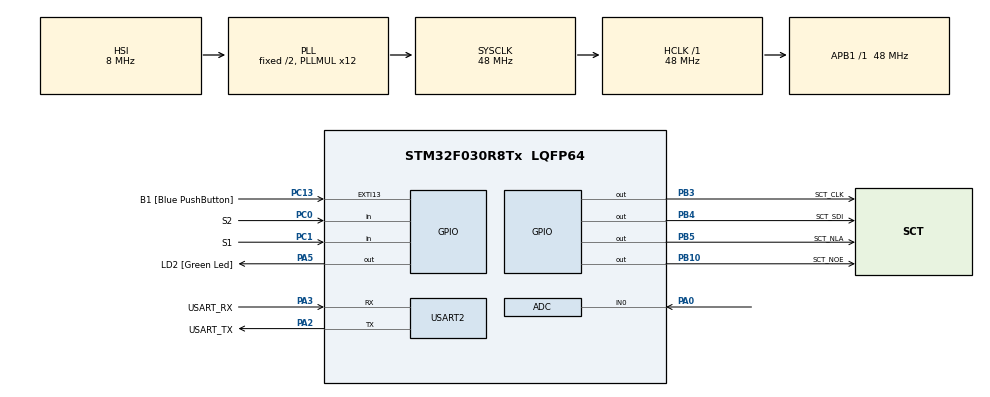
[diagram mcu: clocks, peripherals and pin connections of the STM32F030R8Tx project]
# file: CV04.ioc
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ADC.ContinuousConvMode=ENABLE
ADC.Overrun=ADC_OVR_DATA_OVERWRITTEN
ADC.SamplingTime=ADC_SAMPLETIME_239CYCLES_5
Mcu.Family=STM32F0
Mcu.Name=STM32F030R8Tx
Mcu.Package=LQFP64
NVIC.ADC1_IRQn=true\:0\:0\:false\:false\:true\:true\:true
PA0.Mode=IN0
PA0.Signal=ADC_IN0
PA13.GPIO_Label=TMS
PA13.Mode=Serial_Wire
PA13.Signal=SYS_SWDIO
PA14.GPIO_Label=TCK
PA14.Mode=Serial_Wire
PA14.Signal=SYS_SWCLK
PA2.GPIO_Label=USART_TX
PA2.GPIO_Mode=GPIO_MODE_AF_PP
PA2.GPIO_PuPd=GPIO_NOPULL
PA2.GPIO_Speed=GPIO_SPEED_FREQ_LOW
PA2.Mode=Asynchronous
PA2.Signal=USART2_TX
PA3.GPIO_Label=USART_RX
PA3.GPIO_Mode=GPIO_MODE_AF_PP
PA3.GPIO_PuPd=GPIO_NOPULL
PA3.GPIO_Speed=GPIO_SPEED_FREQ_LOW
PA3.Mode=Asynchronous
PA3.Signal=USART2_RX
PA5.GPIO_Label=LD2 [Green Led]
PA5.GPIO_Mode=GPIO_MODE_OUTPUT_PP
PA5.GPIO_PuPd=GPIO_NOPULL
PA5.GPIO_Speed=GPIO_SPEED_FREQ_LOW
PA5.Signal=GPIO_Output
PB10.GPIO_Label=SCT_NOE
PB10.Signal=GPIO_Output
PB3.GPIO_Label=SCT_CLK
PB3.Signal=GPIO_Output
PB4.GPIO_Label=SCT_SDI
PB4.Signal=GPIO_Output
PB5.GPIO_Label=SCT_NLA
PB5.Signal=GPIO_Output
PC0.GPIO_Label=S2
PC0.GPIO_PuPd=GPIO_PULLUP
PC0.Signal=GPIO_Input
PC1.GPIO_Label=S1
PC1.GPIO_PuPd=GPIO_PULLUP
PC1.Signal=GPIO_Input
PC13.GPIO_Label=B1 [Blue PushButton]
PC13.GPIO_ModeDefaultEXTI=GPIO_MODE_IT_FALLING
PC13.Signal=GPXTI13
PC14-OSC32_IN.Mode=LSE-External-Oscillator
PC14-OSC32_IN.Signal=RCC_OSC32_IN
PC15-OSC32_OUT.Mode=LSE-External-Oscillator
PC15-OSC32_OUT.Signal=RCC_OSC32_OUT
PF0-OSC_IN.Mode=HSE-External-Clock-Source
PF0-OSC_IN.Signal=RCC_OSC_IN
PF1-OSC_OUT.Signal=RCC_OSC_OUT
ProjectManager.HeapSize=0x200
ProjectManager.StackSize=0x400
ProjectManager.TargetToolchain=STM32CubeIDE
RCC.AHBFreq_Value=48000000
RCC.APB1Freq_Value=48000000
RCC.APB1TimFreq_Value=48000000
RCC.HCLKFreq_Value=48000000
RCC.PLLMUL=RCC_PLL_MUL12
RCC.SYSCLKFreq_VALUE=48000000
RCC.SYSCLKSource=RCC_SYSCLKSOURCE_PLLCLK
USART2.VirtualMode-Asynchronous=VM_ASYNC
VP_ADC_TempSens_Input.Mode=IN-TempSens
VP_ADC_Vref_Input.Mode=IN-Vrefint
board=NUCLEO-F030R8

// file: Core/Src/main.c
/* USER CODE BEGIN Header */
/**
  ******************************************************************************
  * @file           : main.c
  * @brief          : Main program body
  ******************************************************************************
  * @attention
  *
  * <h2><center>&copy; Copyright (c) 2020 STMicroelectronics.
  * All rights reserved.</center></h2>
  *
  * This software component is licensed by ST under BSD 3-Clause license,
  * the "License"; You may not use this file except in compliance with the
  * License. You may obtain a copy of the License at:
  *                        opensource.org/licenses/BSD-3-Clause
  *
  ******************************************************************************
  */
/* USER CODE END Header */

#include "main.h"
#include "sct.h"

/* USER CODE BEGIN PD */

#define TEMP110_CAL_ADDR ((uint16_t*) ((uint32_t) 0x1FFFF7C2))
#define TEMP30_CAL_ADDR ((uint16_t*) ((uint32_t) 0x1FFFF7B8))

#define VREFINT_CAL_ADDR ((uint16_t*) ((uint32_t) 0x1FFFF7BA))

#define  ADC_Q 16
/* USER CODE END PD */

ADC_HandleTypeDef hadc;

UART_HandleTypeDef huart2;

/* USER CODE BEGIN PV */
static volatile uint32_t raw_pot;
static volatile uint32_t raw_temp;
static volatile uint32_t raw_volt;

/* USER CODE END PV */

void SystemClock_Config(void);
static void MX_GPIO_Init(void);
static void MX_USART2_UART_Init(void);
static void MX_ADC_Init(void);

int main(void)
{

  /* MCU Configuration--------------------------------------------------------*/

  /* Reset of all peripherals, Initializes the Flash interface and the Systick. */
  HAL_Init();

  /* Configure the system clock */
  SystemClock_Config();

  /* Initialize all configured peripherals */
  MX_GPIO_Init();
  MX_USART2_UART_Init();
  MX_ADC_Init();
  /* USER CODE BEGIN 2 */

  HAL_ADCEx_Calibration_Start(&hadc);
  sct_init();
  HAL_ADC_Start_IT(&hadc);

  /* USER CODE END 2 */

  /* Infinite loop */
  while (1)
  {

	  static enum { SHOW_POT, SHOW_VOLT, SHOW_TEMP } state = SHOW_POT;
	  uint32_t tick;

	 if (HAL_GPIO_ReadPin(S1_GPIO_Port, S1_Pin)==0){
		state = SHOW_VOLT;
		tick = HAL_GetTick();

	 }
	 if (HAL_GPIO_ReadPin(S2_GPIO_Port, S2_Pin)==0){
		 state = SHOW_TEMP;
			tick = HAL_GetTick();
	 }
     if (state == SHOW_POT){
	     sct_value((raw_pot*500)/4096, (raw_pot*9)/4096);

	 }
	 else if (state == SHOW_VOLT){
		 uint32_t voltage = 330 * (*VREFINT_CAL_ADDR) / raw_volt;
		 sct_value(voltage, 0);

		 if(HAL_GetTick() >= tick+1000){
			 state = SHOW_POT;
		 }

	 }
	 else if (state == SHOW_TEMP){
		 int32_t temperature = (raw_temp - (int32_t)(*TEMP30_CAL_ADDR));
		 temperature = temperature * (int32_t)(110 - 30);
		 temperature = temperature / (int32_t)(*TEMP110_CAL_ADDR - *TEMP30_CAL_ADDR);
		 temperature = temperature + 30;

		 sct_value(temperature, 0);

		 if(HAL_GetTick()>=tick+1000){
		     state = SHOW_POT;
		 }

	 }

     HAL_Delay(50);

  }
}

void SystemClock_Config(void)
{
  RCC_OscInitTypeDef RCC_OscInitStruct = {0};
  RCC_ClkInitTypeDef RCC_ClkInitStruct = {0};

  /** Initializes the CPU, AHB and APB busses clocks
  */
  RCC_OscInitStruct.OscillatorType = RCC_OSCILLATORTYPE_HSI|RCC_OSCILLATORTYPE_HSI14;
  RCC_OscInitStruct.HSIState = RCC_HSI_ON;
  RCC_OscInitStruct.HSI14State = RCC_HSI14_ON;
  RCC_OscInitStruct.HSICalibrationValue = RCC_HSICALIBRATION_DEFAULT;
  RCC_OscInitStruct.HSI14CalibrationValue = 16;
  RCC_OscInitStruct.PLL.PLLState = RCC_PLL_ON;
  RCC_OscInitStruct.PLL.PLLSource = RCC_PLLSOURCE_HSI;
  RCC_OscInitStruct.PLL.PLLMUL = RCC_PLL_MUL12;
  RCC_OscInitStruct.PLL.PREDIV = RCC_PREDIV_DIV1;
  if (HAL_RCC_OscConfig(&RCC_OscInitStruct) != HAL_OK)
  {
    Error_Handler();
  }
  /** Initializes the CPU, AHB and APB busses clocks
  */
  RCC_ClkInitStruct.ClockType = RCC_CLOCKTYPE_HCLK|RCC_CLOCKTYPE_SYSCLK
                              |RCC_CLOCKTYPE_PCLK1;
  RCC_ClkInitStruct.SYSCLKSource = RCC_SYSCLKSOURCE_PLLCLK;
  RCC_ClkInitStruct.AHBCLKDivider = RCC_SYSCLK_DIV1;
  RCC_ClkInitStruct.APB1CLKDivider = RCC_HCLK_DIV1;

  if (HAL_RCC_ClockConfig(&RCC_ClkInitStruct, FLASH_LATENCY_1) != HAL_OK)
  {
    Error_Handler();
  }
}

static void MX_ADC_Init(void)
{

  ADC_ChannelConfTypeDef sConfig = {0};

  /** Configure the global features of the ADC (Clock, Resolution, Data Alignment and number of conversion)
  */
  hadc.Instance = ADC1;
  hadc.Init.ClockPrescaler = ADC_CLOCK_ASYNC_DIV1;
  hadc.Init.Resolution = ADC_RESOLUTION_12B;
  hadc.Init.DataAlign = ADC_DATAALIGN_RIGHT;
  hadc.Init.ScanConvMode = ADC_SCAN_DIRECTION_FORWARD;
  hadc.Init.EOCSelection = ADC_EOC_SINGLE_CONV;
  hadc.Init.LowPowerAutoWait = DISABLE;
  hadc.Init.LowPowerAutoPowerOff = DISABLE;
  hadc.Init.ContinuousConvMode = ENABLE;
  hadc.Init.DiscontinuousConvMode = DISABLE;
  hadc.Init.ExternalTrigConv = ADC_SOFTWARE_START;
  hadc.Init.ExternalTrigConvEdge = ADC_EXTERNALTRIGCONVEDGE_NONE;
  hadc.Init.DMAContinuousRequests = DISABLE;
  hadc.Init.Overrun = ADC_OVR_DATA_OVERWRITTEN;
  if (HAL_ADC_Init(&hadc) != HAL_OK)
  {
    Error_Handler();
  }
  /** Configure for the selected ADC regular channel to be converted.
  */
  sConfig.Channel = ADC_CHANNEL_0;
  sConfig.Rank = ADC_RANK_CHANNEL_NUMBER;
  sConfig.SamplingTime = ADC_SAMPLETIME_239CYCLES_5;
  if (HAL_ADC_ConfigChannel(&hadc, &sConfig) != HAL_OK)
  {
    Error_Handler();
  }
  /** Configure for the selected ADC regular channel to be converted.
  */
  sConfig.Channel = ADC_CHANNEL_TEMPSENSOR;
  if (HAL_ADC_ConfigChannel(&hadc, &sConfig) != HAL_OK)
  {
    Error_Handler();
  }
  /** Configure for the selected ADC regular channel to be converted.
  */
  sConfig.Channel = ADC_CHANNEL_VREFINT;
  if (HAL_ADC_ConfigChannel(&hadc, &sConfig) != HAL_OK)
  {
    Error_Handler();
  }

}

static void MX_USART2_UART_Init(void)
{

  huart2.Instance = USART2;
  huart2.Init.BaudRate = 38400;
  huart2.Init.WordLength = UART_WORDLENGTH_8B;
  huart2.Init.StopBits = UART_STOPBITS_1;
  huart2.Init.Parity = UART_PARITY_NONE;
  huart2.Init.Mode = UART_MODE_TX_RX;
  huart2.Init.HwFlowCtl = UART_HWCONTROL_NONE;
  huart2.Init.OverSampling = UART_OVERSAMPLING_16;
  huart2.Init.OneBitSampling = UART_ONE_BIT_SAMPLE_DISABLE;
  huart2.AdvancedInit.AdvFeatureInit = UART_ADVFEATURE_NO_INIT;
  if (HAL_UART_Init(&huart2) != HAL_OK)
  {
    Error_Handler();
  }

}

static void MX_GPIO_Init(void)
{
  GPIO_InitTypeDef GPIO_InitStruct = {0};

  /* GPIO Ports Clock Enable */
  __HAL_RCC_GPIOC_CLK_ENABLE();
  __HAL_RCC_GPIOF_CLK_ENABLE();
  __HAL_RCC_GPIOA_CLK_ENABLE();
  __HAL_RCC_GPIOB_CLK_ENABLE();

  /*Configure GPIO pin Output Level */
  HAL_GPIO_WritePin(LD2_GPIO_Port, LD2_Pin, GPIO_PIN_RESET);

  /*Configure GPIO pin Output Level */
  HAL_GPIO_WritePin(GPIOB, SCT_NOE_Pin|SCT_CLK_Pin|SCT_SDI_Pin|SCT_NLA_Pin, GPIO_PIN_RESET);

  /*Configure GPIO pin : B1_Pin */
  GPIO_InitStruct.Pin = B1_Pin;
  GPIO_InitStruct.Mode = GPIO_MODE_IT_FALLING;
  GPIO_InitStruct.Pull = GPIO_NOPULL;
  HAL_GPIO_Init(B1_GPIO_Port, &GPIO_InitStruct);

  /*Configure GPIO pins : S2_Pin S1_Pin */
  GPIO_InitStruct.Pin = S2_Pin|S1_Pin;
  GPIO_InitStruct.Mode = GPIO_MODE_INPUT;
  GPIO_InitStruct.Pull = GPIO_PULLUP;
  HAL_GPIO_Init(GPIOC, &GPIO_InitStruct);

  /*Configure GPIO pin : LD2_Pin */
  GPIO_InitStruct.Pin = LD2_Pin;
  GPIO_InitStruct.Mode = GPIO_MODE_OUTPUT_PP;
  GPIO_InitStruct.Pull = GPIO_NOPULL;
  GPIO_InitStruct.Speed = GPIO_SPEED_FREQ_LOW;
  HAL_GPIO_Init(LD2_GPIO_Port, &GPIO_InitStruct);

  /*Configure GPIO pins : SCT_NOE_Pin SCT_CLK_Pin SCT_SDI_Pin SCT_NLA_Pin */
  GPIO_InitStruct.Pin = SCT_NOE_Pin|SCT_CLK_Pin|SCT_SDI_Pin|SCT_NLA_Pin;
  GPIO_InitStruct.Mode = GPIO_MODE_OUTPUT_PP;
  GPIO_InitStruct.Pull = GPIO_NOPULL;
  GPIO_InitStruct.Speed = GPIO_SPEED_FREQ_LOW;
  HAL_GPIO_Init(GPIOB, &GPIO_InitStruct);

}

/* USER CODE BEGIN 4 */

void HAL_ADC_ConvCpltCallback(ADC_HandleTypeDef* hadc)
{
	static  uint32_t avg_pot;
	static  uint32_t channel;

    if(channel == 0){
      raw_pot = avg_pot >> ADC_Q;
      avg_pot -= raw_pot;
      avg_pot += HAL_ADC_GetValue(hadc);
    }
    else if(channel == 1){
      raw_temp = HAL_ADC_GetValue(hadc);
    }
    else if(channel == 2){
      raw_volt = HAL_ADC_GetValue(hadc);
    }

    if (__HAL_ADC_GET_FLAG(hadc, ADC_FLAG_EOS)) channel = 0;
    else channel++;

}

/*
void HAL_ADC_ConvCpltCallback(ADC_HandleTypeDef* hadc)
{
     raw_pot = avg_pot >> ADC_Q;
     avg_pot -= raw_pot;
     avg_pot += HAL_ADC_GetValue(hadc);
}
*/

/* USER CODE END 4 */

void Error_Handler(void)
{
}

/************************ (C) COPYRIGHT STMicroelectronics *****END OF FILE****/
